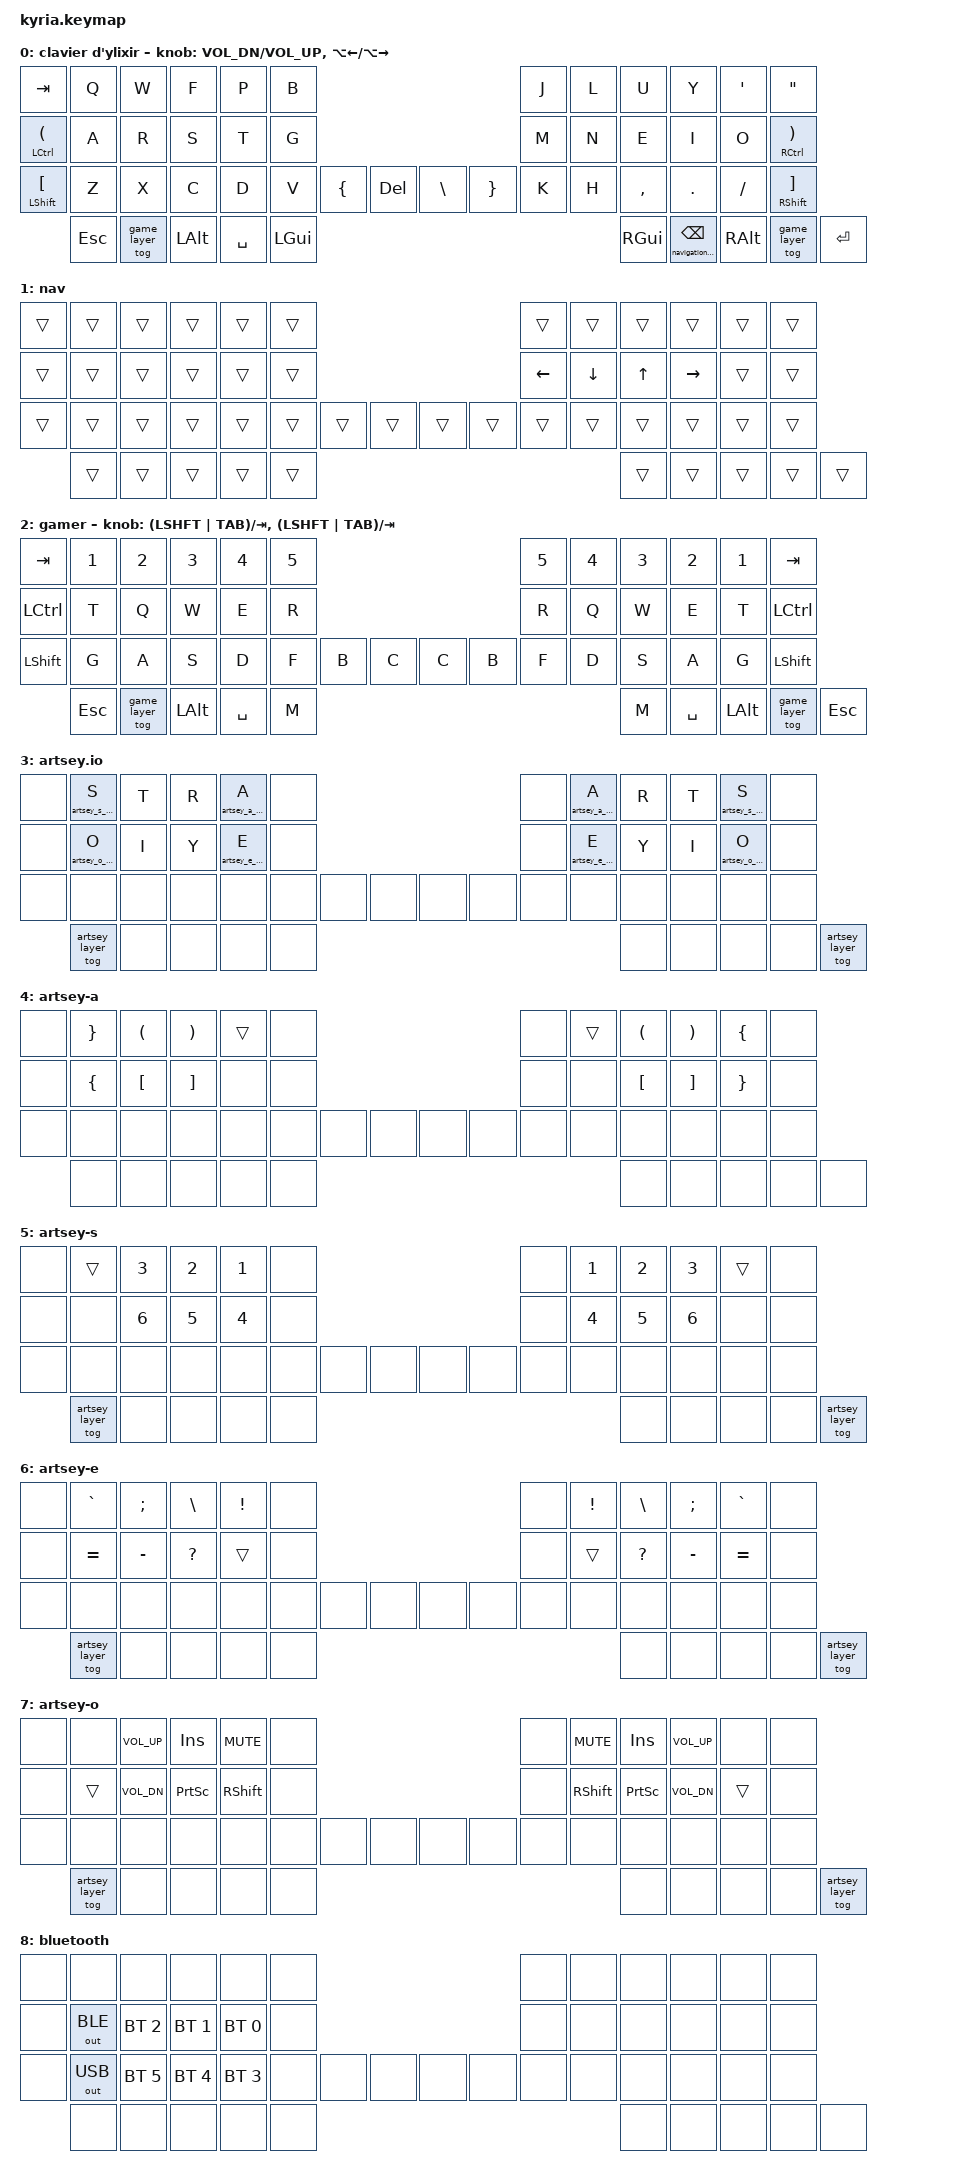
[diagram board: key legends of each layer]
/*
 * Copyright (c) 2020 The ZMK Contributors
 *
 * SPDX-License-Identifier: MIT
 */

#include <behaviors.dtsi>
#include <dt-bindings/zmk/keys.h>
#include <dt-bindings/zmk/bt.h>
#include <dt-bindings/zmk/outputs.h>

#define base_layer 0
#define navigation_layer 1
#define game_layer 2
#define artsey_layer 3
#define artsey_a_layer 4
#define artsey_s_layer 5
#define artsey_e_layer 6
#define artsey_o_layer 7
#define bluetooth_layer 8

#define artsey_timeout 175
&left_encoder { resolution = <2>; };
&right_encoder { resolution = <2>; };

/ {
  behaviors {
    // mainly to allow key repeat with backspace
    rlt: behavior_repeating_layer_tap {
      compatible = "zmk,behavior-hold-tap";
      label = "REPEATING_LAYER_TAP";
      #binding-cells = <2>;
      flavor = "tap-unless-interrupted";
      tapping-term-ms = <500>;
      bindings = <&mo>, <&kp>;
    };
  };
  combos {
    compatible = "zmk,combos";
    combo_tilde { timeout-ms = <50>; key-positions = <0 1>; bindings = <&kp TILDE>; };
    combo_grave { timeout-ms = <50>; key-positions = <10 11>; bindings = <&kp GRAVE>; };

    combo_lt { timeout-ms = <50>; key-positions = <4 5>; layers = <base_layer>; bindings = <&kp LT>; };
    combo_gt { timeout-ms = <50>; key-positions = <6 7>; layers = <base_layer>; bindings = <&kp GT>; };

    combo_n1 { timeout-ms = <50>; key-positions = <1 13>; layers = <base_layer>; bindings = <&kp N1>; };
    combo_n2 { timeout-ms = <50>; key-positions = <2 14>; layers = <base_layer>; bindings = <&kp N2>; };
    combo_n3 { timeout-ms = <50>; key-positions = <3 15>; layers = <base_layer>; bindings = <&kp N3>; };
    combo_n4 { timeout-ms = <50>; key-positions = <4 16>; layers = <base_layer>; bindings = <&kp N4>; };
    combo_n5 { timeout-ms = <50>; key-positions = <5 17>; layers = <base_layer>; bindings = <&kp N5>; };
    combo_n6 { timeout-ms = <50>; key-positions = <6 18>; layers = <base_layer>; bindings = <&kp N6>; };
    combo_n7 { timeout-ms = <50>; key-positions = <7 19>; layers = <base_layer>; bindings = <&kp N7>; };
    combo_n8 { timeout-ms = <50>; key-positions = <8 20>; layers = <base_layer>; bindings = <&kp N8>; };
    combo_n9 { timeout-ms = <50>; key-positions = <9 21>; layers = <base_layer>; bindings = <&kp N9>; };
    combo_n0 { timeout-ms = <50>; key-positions = <10 22>; layers = <base_layer>; bindings = <&kp N0>; };

    combo_minus { timeout-ms = <50>; key-positions = <16 17>; layers = <base_layer>; bindings = <&kp MINUS>; };
    combo_plus { timeout-ms = <50>; key-positions = <18 19>; layers = <base_layer>; bindings = <&kp PLUS>; };

    combo_excl { timeout-ms = <50>; key-positions = <13 25>; layers = <base_layer>; bindings = <&kp EXCL>; };
    combo_at { timeout-ms = <50>; key-positions = <14 26>; layers = <base_layer>; bindings = <&kp AT>; };
    combo_pound { timeout-ms = <50>; key-positions = <15 27>; layers = <base_layer>; bindings = <&kp POUND>; };
    combo_dllr { timeout-ms = <50>; key-positions = <16 28>; layers = <base_layer>; bindings = <&kp DLLR>; };
    combo_prcnt { timeout-ms = <50>; key-positions = <17 29>; layers = <base_layer>; bindings = <&kp PRCNT>; };
    combo_caret { timeout-ms = <50>; key-positions = <18 34>; layers = <base_layer>; bindings = <&kp CARET>; };
    combo_amps { timeout-ms = <50>; key-positions = <19 35>; layers = <base_layer>; bindings = <&kp AMPS>; };
    combo_star { timeout-ms = <50>; key-positions = <20 36>; layers = <base_layer>; bindings = <&kp STAR>; };
    combo_semi { timeout-ms = <50>; key-positions = <21 37>; layers = <base_layer>; bindings = <&kp SEMI>; };
    combo_colon { timeout-ms = <50>; key-positions = <22 38>; layers = <base_layer>; bindings = <&kp COLON>; };

    combo_equal { timeout-ms = <50>; key-positions = <28 29>; layers = <base_layer>; bindings = <&kp EQUAL>; };
    combo_under { timeout-ms = <50>; key-positions = <34 35>; layers = <base_layer>; bindings = <&kp UNDER>; };

    combo_caps_word { timeout-ms = <50>; key-positions = <24 39>; layers = <base_layer>; bindings = <&caps_word>; };

    combo_artsey_left_m  { timeout-ms = <artsey_timeout>; key-positions = <13 14 15>; layers = <artsey_layer>; bindings = <&kp M>; };
    combo_artsey_right_m { timeout-ms = <artsey_timeout>; key-positions = <20 21 22>; layers = <artsey_layer>; bindings = <&kp M>; };
    combo_artsey_left_n  { timeout-ms = <artsey_timeout>; key-positions = <13 14>;    layers = <artsey_layer>; bindings = <&kp N>; };
    combo_artsey_right_n { timeout-ms = <artsey_timeout>; key-positions = <21 22>;    layers = <artsey_layer>; bindings = <&kp N>; };
    combo_artsey_left_p  { timeout-ms = <artsey_timeout>; key-positions = <13 14 16>; layers = <artsey_layer>; bindings = <&kp P>; };
    combo_artsey_right_p { timeout-ms = <artsey_timeout>; key-positions = <19 21 22>; layers = <artsey_layer>; bindings = <&kp P>; };
    combo_artsey_left_q  { timeout-ms = <artsey_timeout>; key-positions = <1 2 4>;    layers = <artsey_layer>; bindings = <&kp Q>; };
    combo_artsey_right_q { timeout-ms = <artsey_timeout>; key-positions = <7 9 10>;   layers = <artsey_layer>; bindings = <&kp Q>; };
    combo_artsey_left_u  { timeout-ms = <artsey_timeout>; key-positions = <14 15>;    layers = <artsey_layer>; bindings = <&kp U>; };
    combo_artsey_right_u { timeout-ms = <artsey_timeout>; key-positions = <20 21>;    layers = <artsey_layer>; bindings = <&kp U>; };
    combo_artsey_left_v  { timeout-ms = <artsey_timeout>; key-positions = <1 3>;      layers = <artsey_layer>; bindings = <&kp V>; };
    combo_artsey_right_v { timeout-ms = <artsey_timeout>; key-positions = <8 10>;     layers = <artsey_layer>; bindings = <&kp V>; };
    combo_artsey_left_w  { timeout-ms = <artsey_timeout>; key-positions = <1 4>;      layers = <artsey_layer>; bindings = <&kp W>; };
    combo_artsey_right_w { timeout-ms = <artsey_timeout>; key-positions = <7 10>;     layers = <artsey_layer>; bindings = <&kp W>; };
    combo_artsey_left_x  { timeout-ms = <artsey_timeout>; key-positions = <1 2 3>;    layers = <artsey_layer>; bindings = <&kp X>; };
    combo_artsey_right_x { timeout-ms = <artsey_timeout>; key-positions = <8 9 10>;   layers = <artsey_layer>; bindings = <&kp X>; };
    combo_artsey_left_z  { timeout-ms = <artsey_timeout>; key-positions = <1 2 3 4>;  layers = <artsey_layer>; bindings = <&kp Z>; };
    combo_artsey_right_z { timeout-ms = <artsey_timeout>; key-positions = <7 8 9 10>; layers = <artsey_layer>; bindings = <&kp Z>; };

    combo_artsey_left_b  { timeout-ms = <artsey_timeout>; key-positions = <13 16>;    layers = <artsey_layer>; bindings = <&kp B>; };
    combo_artsey_right_b { timeout-ms = <artsey_timeout>; key-positions = <19 22>;    layers = <artsey_layer>; bindings = <&kp B>; };
    combo_artsey_left_c  { timeout-ms = <artsey_timeout>; key-positions = <15 16>;    layers = <artsey_layer>; bindings = <&kp C>; };
    combo_artsey_right_c { timeout-ms = <artsey_timeout>; key-positions = <19 20>;    layers = <artsey_layer>; bindings = <&kp C>; };
    combo_artsey_left_d  { timeout-ms = <artsey_timeout>; key-positions = <2 3 4>;    layers = <artsey_layer>; bindings = <&kp D>; };
    combo_artsey_right_d { timeout-ms = <artsey_timeout>; key-positions = <7 8 9>;    layers = <artsey_layer>; bindings = <&kp D>; };
    combo_artsey_left_f  { timeout-ms = <artsey_timeout>; key-positions = <3 4>;      layers = <artsey_layer>; bindings = <&kp F>; };
    combo_artsey_right_f { timeout-ms = <artsey_timeout>; key-positions = <7 8>;      layers = <artsey_layer>; bindings = <&kp F>; };
    combo_artsey_left_g  { timeout-ms = <artsey_timeout>; key-positions = <2 3>;      layers = <artsey_layer>; bindings = <&kp G>; };
    combo_artsey_right_g { timeout-ms = <artsey_timeout>; key-positions = <8 9>;      layers = <artsey_layer>; bindings = <&kp G>; };
    combo_artsey_left_h  { timeout-ms = <artsey_timeout>; key-positions = <14 16>;    layers = <artsey_layer>; bindings = <&kp H>; };
    combo_artsey_right_h { timeout-ms = <artsey_timeout>; key-positions = <19 21>;    layers = <artsey_layer>; bindings = <&kp H>; };
    combo_artsey_left_j  { timeout-ms = <artsey_timeout>; key-positions = <1 2>;      layers = <artsey_layer>; bindings = <&kp J>; };
    combo_artsey_right_j { timeout-ms = <artsey_timeout>; key-positions = <9 10>;     layers = <artsey_layer>; bindings = <&kp J>; };
    combo_artsey_left_k  { timeout-ms = <artsey_timeout>; key-positions = <13 15>;    layers = <artsey_layer>; bindings = <&kp K>; };
    combo_artsey_right_k { timeout-ms = <artsey_timeout>; key-positions = <20 22>;    layers = <artsey_layer>; bindings = <&kp K>; };
    combo_artsey_left_l  { timeout-ms = <artsey_timeout>; key-positions = <14 15 16>; layers = <artsey_layer>; bindings = <&kp L>; };
    combo_artsey_right_l { timeout-ms = <artsey_timeout>; key-positions = <19 20 21>; layers = <artsey_layer>; bindings = <&kp L>; };

    combo_artsey_left_esc    { timeout-ms = <artsey_timeout>; key-positions = <13 3 4>;      layers = <artsey_layer>; bindings = <&kp ESC>; };
    combo_artsey_right_esc   { timeout-ms = <artsey_timeout>; key-positions = <7 8 22>;      layers = <artsey_layer>; bindings = <&kp ESC>; };
    combo_artsey_left_enter  { timeout-ms = <artsey_timeout>; key-positions = <4 16>;        layers = <artsey_layer>; bindings = <&kp RET>; };
    combo_artsey_right_enter { timeout-ms = <artsey_timeout>; key-positions = <7 19>;        layers = <artsey_layer>; bindings = <&kp RET>; };
    combo_artsey_left_tab    { timeout-ms = <artsey_timeout>; key-positions = <13 2 3 4>;    layers = <artsey_layer>; bindings = <&kp TAB>; };
    combo_artsey_right_tab   { timeout-ms = <artsey_timeout>; key-positions = <7 8 9 22>;    layers = <artsey_layer>; bindings = <&kp TAB>; };
    combo_artsey_left_quote  { timeout-ms = <artsey_timeout>; key-positions = <4 14 15>;     layers = <artsey_layer>; bindings = <&kp SQT>; };
    combo_artsey_right_quote { timeout-ms = <artsey_timeout>; key-positions = <7 20 21>;     layers = <artsey_layer>; bindings = <&kp SQT>; };
    combo_artsey_left_dot    { timeout-ms = <artsey_timeout>; key-positions = <4 14>;        layers = <artsey_layer>; bindings = <&kp DOT>; };
    combo_artsey_right_dot   { timeout-ms = <artsey_timeout>; key-positions = <7 20>;        layers = <artsey_layer>; bindings = <&kp DOT>; };
    combo_artsey_left_comma  { timeout-ms = <artsey_timeout>; key-positions = <4 14>;        layers = <artsey_layer>; bindings = <&kp COMMA>; };
    combo_artsey_right_comma { timeout-ms = <artsey_timeout>; key-positions = <7 21>;        layers = <artsey_layer>; bindings = <&kp COMMA>; };
    combo_artsey_left_slash  { timeout-ms = <artsey_timeout>; key-positions = <4 13>;        layers = <artsey_layer>; bindings = <&kp FSLH>; };
    combo_artsey_right_slash { timeout-ms = <artsey_timeout>; key-positions = <7 22>;        layers = <artsey_layer>; bindings = <&kp FSLH>; };
    combo_artsey_left_excl   { timeout-ms = <artsey_timeout>; key-positions = <2 14>;        layers = <artsey_layer>; bindings = <&kp EXCL>; };
    combo_artsey_right_excl  { timeout-ms = <artsey_timeout>; key-positions = <9 21>;        layers = <artsey_layer>; bindings = <&kp EXCL>; };
    combo_artsey_left_space  { timeout-ms = <artsey_timeout>; key-positions = <13 14 15 16>; layers = <artsey_layer>; bindings = <&kp SPACE>; };
    combo_artsey_right_space { timeout-ms = <artsey_timeout>; key-positions = <19 20 21 22>; layers = <artsey_layer>; bindings = <&kp SPACE>; };
    combo_artsey_left_bkspc  { timeout-ms = <artsey_timeout>; key-positions = <3 16>;        layers = <artsey_layer>; bindings = <&kp BSPC>; };
    combo_artsey_right_bkspc { timeout-ms = <artsey_timeout>; key-positions = <8 19>;        layers = <artsey_layer>; bindings = <&kp BSPC>; };
    combo_artsey_left_del    { timeout-ms = <artsey_timeout>; key-positions = <3 14>;        layers = <artsey_layer>; bindings = <&kp DEL>; };
    combo_artsey_right_del   { timeout-ms = <artsey_timeout>; key-positions = <8 21>;        layers = <artsey_layer>; bindings = <&kp DEL>; };

    combo_artsey_left_ctrl      { timeout-ms = <artsey_timeout>; key-positions = <1 22>;       layers = <artsey_layer>; bindings = <&sk LCTRL>; };
    combo_artsey_right_ctrl     { timeout-ms = <artsey_timeout>; key-positions = <10 19>;      layers = <artsey_layer>; bindings = <&sk LCTRL>; };
    combo_artsey_left_gui       { timeout-ms = <artsey_timeout>; key-positions = <1 21>;       layers = <artsey_layer>; bindings = <&sk LGUI>; };
    combo_artsey_right_gui      { timeout-ms = <artsey_timeout>; key-positions = <10 20>;      layers = <artsey_layer>; bindings = <&sk LGUI>; };
    combo_artsey_left_meta      { timeout-ms = <artsey_timeout>; key-positions = <1 20>;       layers = <artsey_layer>; bindings = <&sk LALT>; };
    combo_artsey_right_meta     { timeout-ms = <artsey_timeout>; key-positions = <10 21>;      layers = <artsey_layer>; bindings = <&sk LALT>; };
    combo_artsey_left_shift     { timeout-ms = <artsey_timeout>; key-positions = <1 2 3 22>;   layers = <artsey_layer>; bindings = <&sk LSHFT>; };
    combo_artsey_right_shift    { timeout-ms = <artsey_timeout>; key-positions = <8 9 10 19>;  layers = <artsey_layer>; bindings = <&sk LSHFT>; };
    combo_artsey_left_caps_wrd  { timeout-ms = <artsey_timeout>; key-positions = <3 21>;       layers = <artsey_layer>; bindings = <&caps_word>; };
    combo_artsey_right_caps_wrd { timeout-ms = <artsey_timeout>; key-positions = <8 20>;       layers = <artsey_layer>; bindings = <&caps_word>; };
    combo_artsey_left_caps      { timeout-ms = <artsey_timeout>; key-positions = <4 19 20 21>; layers = <artsey_layer>; bindings = <&kp CAPS>; };
    combo_artsey_right_caps     { timeout-ms = <artsey_timeout>; key-positions = <7 20 21 22>; layers = <artsey_layer>; bindings = <&kp CAPS>; };
    combo_artsey_left_bt_clr    { timeout-ms = <artsey_timeout>; key-positions = <2 3 20 21>;  layers = <artsey_layer>; bindings = <&bt BT_CLR>; };
    combo_artsey_right_bt_clr   { timeout-ms = <artsey_timeout>; key-positions = <8 9 20 21>;  layers = <artsey_layer>; bindings = <&bt BT_CLR>; };

    combo_artsey_left_0  { timeout-ms = <artsey_timeout>; key-positions = <14 15>; layers = <artsey_layer>; bindings = <&kp N0>; };
    combo_artsey_right_0 { timeout-ms = <artsey_timeout>; key-positions = <21 22>; layers = <artsey_layer>; bindings = <&kp N0>; };
    combo_artsey_left_9  { timeout-ms = <artsey_timeout>; key-positions = <15 16>; layers = <artsey_layer>; bindings = <&kp N9>; };
    combo_artsey_right_9 { timeout-ms = <artsey_timeout>; key-positions = <20 21>; layers = <artsey_layer>; bindings = <&kp N9>; };
    combo_artsey_left_8  { timeout-ms = <artsey_timeout>; key-positions = <2 3>;   layers = <artsey_layer>; bindings = <&kp N8>; };
    combo_artsey_right_8 { timeout-ms = <artsey_timeout>; key-positions = <9 10>;  layers = <artsey_layer>; bindings = <&kp N8>; };
    combo_artsey_left_7  { timeout-ms = <artsey_timeout>; key-positions = <3 4>;   layers = <artsey_layer>; bindings = <&kp N7>; };
    combo_artsey_right_7 { timeout-ms = <artsey_timeout>; key-positions = <8 9>;   layers = <artsey_layer>; bindings = <&kp N7>; };

    combo_left_bluetooth { timeout-ms = <50>; key-positions = <1 4 13 16>; layers = <base_layer artsey_layer bluetooth_layer>; bindings = <&tog bluetooth_layer>; };
    combo_right_bluetooth { timeout-ms = <50>; key-positions = <7 10 19 22>; layers = <base_layer artsey_layer bluetooth_layer>; bindings = <&tog bluetooth_layer>; };
    combo_left_artsey  { timeout-ms = <50>; key-positions = <13 14 15 16>; layers = <base_layer game_layer>; bindings = <&tog artsey_layer>; };
    combo_right_artsey { timeout-ms = <50>; key-positions = <19 20 21 22>; layers = <base_layer game_layer>; bindings = <&tog artsey_layer>; };
  };
  keymap {
    compatible = "zmk,keymap";

// key numbers
// ,-------------------------------------------.                              ,-------------------------------------------.
// |   0   (~) 1   |  2   |  3   |  4  (<) 5   |                              |  6  (>) 7   |  8   |  9   |  10 (`)  11   |
// |--------+---1--+---2--+---3--+---4--+---5--|                              |---6--+---7--+---8--+---9--+---0--+--------|
// |   12   |  13  |  14  |  15  |  16 (-) 17  |                              |  18 (+) 19  |  20  |  21  |  22  |   23   |
// |--------+---!--+---@--+---#--+---$--+---%--+-------------.  ,-------------+---^--+---&--+---*--+---;--+---:--+--------|
// |   24   |  25  |  26  |  27  |  28 (=) 29  |  30  |  31  |  |  32  |  33  |  34 (_) 35  |  36  |  37  |  38  |   39   |
// `----------------------+------+------+------+------+------|  |------+------+------+------+------+----------------------'
//                        |  40  |  41  |  42  |  43  |  44  |  |  45  |  46  |  47  |  48  |  49  |
//                        `----------|-----------------------'  `-----------------------|----------'
//                                   +----------------- bluetooth layer ----------------+
// base
// ,-------------------------------------------.                              ,-------------------------------------------.
// |  tab  (~)  Q  |   W  |   F  |   P (<)  B  |                              |   J (>)  L  |   U  |   Y  |   ' (`)  "    |
// |--------+---1--+---2--+---3--+---4--+---5--|                              |---6--+---7--+---8--+---9--+---0--+--------|
// | Ctrl ( |   A  |   R  |   S  |   T (=)  G  |                              |   M (_)  N  |   E  |   I  |   O  | Ctrl ) |
// |--------+---!--+---@--+---#--+---$--+---%--+-------------.  ,-------------+---^--+---&--+---*--+---;--+---:--+--------|
// | Shft [ |   Z  |   X  |   C  |   D (-)  V  |   {  | Del  |  |   \  |  }   |   K (+)  H  |   ,  |   .  |   /  | Shft ] |
// `----------------------+------+------+------+------+------|  |------+------+------+------+------+----------------------'
//                        | ESC  |      | Alt  |Space |  Gui |  | Gui  | Bspc | Alt  |      |  Ent |
//                        |      |   ^  |      |      |      |  |      |  Nav |      |  ^   |      |
//                        `----------|-----------------------'  `-----------------------|----------'
//                        - vol +    +----------------- bluetooth layer ----------------+   <-alt->

// navigation
// ,-------------------------------------------.                              ,-------------------------------------------.
// |        |      |      |      |      |      |                              |      |      |      |      |      |        |
// |--------+------+------+------+------+------|                              |------+------+------+------+------+--------|
// |        |      |      |      |      |      |                              | Left | Down | Up   | Right|      |        |
// |--------+------+------+------+------+------+-------------.  ,-------------+------+------+------+------+------+--------|
// |        |      |      |      |      |      |      |      |  |      |      |      |      |      |      |      |        |
// `----------------------+------+------+------+------+------|  |------+------+------+------+------+----------------------'
//                        |      |      |      |      |      |  |      |      |      |      |      |
//                        |      |      |      |      |      |  |      |      |      |      |      |
//                        `----------------------------------'  `----------------------------------'
//
    base_layer {
      label = "clavier d'ylixir";
      bindings = <
  &kp TAB   &kp Q &kp W &kp F &kp P &kp B                                                   &kp J &kp L  &kp U     &kp Y   &kp SQT  &kp DQT
  &mt LCTRL LPAR &kp A &kp R &kp S &kp T &kp G                                              &kp M &kp N  &kp E     &kp I   &kp O    &mt RCTRL RPAR
  &mt LSHFT LBKT &kp Z &kp X &kp C &kp D &kp V   &kp LBRC  &kp DEL        &kp BSLH &kp RBRC &kp K &kp H  &kp COMMA &kp DOT &kp FSLH &mt RSHFT RBKT
              &kp ESC  &tog game_layer  &kp LALT &kp SPACE &kp LGUI       &kp RGUI &rlt navigation_layer BSPC   &kp RALT &tog game_layer &kp RET

      >;

      sensor-bindings = <&inc_dec_kp C_VOL_DN C_VOL_UP &inc_dec_kp LA(LEFT) LA(RIGHT)>;
    };
    nagigation_layer {
      label = "nav";
      bindings = <
  &trans   &trans &trans &trans &trans &trans                                            &trans   &trans   &trans &trans    &trans  &trans
  &trans   &trans &trans &trans &trans &trans                                            &kp LEFT &kp DOWN &kp UP &kp RIGHT &trans  &trans
  &trans   &trans &trans &trans &trans &trans   &trans  &trans       &trans   &trans     &trans   &trans   &trans &trans    &trans  &trans
                          &trans  &trans  &trans &trans &trans       &trans   &trans     &trans &trans &trans

      >;
    };
// game
// ,-------------------------------------------.                              ,-------------------------------------------.
// |  Tab   |  1   |  2   |  3   |  4   |  5   |                              |  5   |  4   |  3   |  2   |  1   |  Tab   |
// |--------+------+------+------+------+------|                              |------+------+------+------+------+--------|
// |  Ctrl  |  T   |  Q   |  W   |  E   |  R   |                              |  R   |  Q   |  W   |  E   |  T   |  Ctrl  |
// |--------+------+------+------+------+------+-------------.  ,-------------+------+------+------+------+------+--------|
// |  Shft  |  G   |  A   |  S   |  D   |  F   |  B   |  C   |  |  C   |  B   |  F   |  D   |  S   |  A   |  G   |  Shft  |
// `----------------------+------+------+------+------+------|  |------+------+------+------+------+----------------------'
//                        | Esc  | Tog  | Alt  | Spc  |  M   |  |  M   | Spc  | Alt  | Tog  | Esc  |
//                        |      | Base |      |      |      |  |      |      |      | Base |      |
//                        `----------------------------------'  `----------------------------------'
//                          Tab                                                               Tab
    game_layer {
      label = "gamer";
      bindings = <
  &kp TAB   &kp N1 &kp N2 &kp N3 &kp N4 &kp N5                                   &kp N5 &kp N4 &kp N3 &kp N2 &kp N1 &kp TAB
  &kp LCTRL &kp T  &kp Q  &kp W  &kp E  &kp R                                    &kp R  &kp Q  &kp W  &kp E  &kp T  &kp LCTRL
  &kp LSHFT &kp G  &kp A  &kp S  &kp D  &kp F   &kp B  &kp C        &kp C &kp B  &kp F  &kp D  &kp S  &kp A  &kp G  &kp LSHFT
     &kp ESC  &tog game_layer &kp LALT &kp SPACE &kp M        &kp M &kp SPACE &kp LALT &tog game_layer &kp ESC
      >;
      sensor-bindings = <&inc_dec_kp (LSHFT | TAB) TAB &inc_dec_kp (LSHFT | TAB) TAB>;
    };
    artsey_layer {
      label = "artsey.io";
      bindings = <
  &none &lt artsey_s_layer S &kp T &kp R &lt artsey_a_layer A &none                               &none &lt artsey_a_layer A &kp R &kp T &lt artsey_s_layer S &none
  &none &lt artsey_o_layer O &kp I &kp Y &lt artsey_e_layer E &none                               &none &lt artsey_e_layer E &kp Y &kp I &lt artsey_o_layer O &none
  &none &none &none &none &none &none &none &none       &none &none &none &none &none &none &none &none
        &tog artsey_layer &none &none &none &none       &none &none &none &none &tog artsey_layer
      >;
    };
    artsey_a_layer {
      label = "artsey-a";
      bindings = <
  &none &kp RBRC &kp LPAR &kp RPAR &trans &none             &none &trans &kp LPAR &kp RPAR &kp LBRC &none
  &none &kp LBRC &kp LBKT &kp RBKT &none  &none             &none &none  &kp LBKT &kp RBKT &kp RBRC &none
  &none &none &none &none &none &none &none &none       &none &none &none &none &none &none &none &none
                    &none &none &none &none &none       &none &none &none &none &none
      >;
    };
    artsey_s_layer {
      label = "artsey-s";
      bindings = <
  &none &trans &kp N3 &kp N2 &kp N1 &none                               &none &kp N1 &kp N2 &kp N3 &trans &none
  &none &none  &kp N6 &kp N5 &kp N4 &none                               &none &kp N4 &kp N5 &kp N6 &none  &none
  &none &none &none &none &none &none &none &none       &none &none &none &none &none &none &none &none
        &tog artsey_layer &none &none &none &none       &none &none &none &none &tog artsey_layer
      >;
    };
    artsey_e_layer {
      label = "artsey-e";
      bindings = <
  &none &kp GRAVE &kp SEMI &kp BSLH &kp EXCL &none                               &none &kp EXCL &kp BSLH &kp SEMI &kp GRAVE &none
  &none &kp EQUAL &kp MINUS &kp QMARK &trans &none                               &none &trans &kp QMARK &kp MINUS &kp EQUAL &none
  &none &none &none &none &none &none &none &none       &none &none &none &none &none &none &none &none
        &tog artsey_layer &none &none &none &none       &none &none &none &none &tog artsey_layer
      >;
    };
    artsey_o_layer {
      label = "artsey-o";
      bindings = <
  &none &none  &kp C_VOL_UP &kp INS   &kp C_MUTE &none                               &none &kp C_MUTE &kp INS   &kp C_VOL_UP &none  &none
  &none &trans &kp C_VOL_DN &kp PSCRN &kp RSHFT  &none                               &none &kp RSHFT  &kp PSCRN &kp C_VOL_DN &trans &none
  &none &none  &none        &none     &none      &none &none &none       &none &none &none &none &none &none &none &none
                         &tog artsey_layer &none &none &none &none       &none &none &none &none &tog artsey_layer
      >;
    };
// bluetooth
// ,-------------------------------------------.                              ,-------------------------------------------.
// |        |      |      |      |      |      |                              |      |      |      |      |      |        |
// |--------+------+------+------+------+------|                              |------+------+------+------+------+--------|
// |        |BTprf |  2   |  1   |  0   |      |                              |      |      |      |      |      |        |
// |--------+------+------+------+------+------+-------------.  ,-------------+------+------+------+------+------+--------|
// |        |USBprf|  5   |  4   |  3   |      |      |      |  |      |      |      |      |      |      |      |        |
// `----------------------+------+------+------+------+------|  |------+------+------+------+------+----------------------'
//                        |      |      |      |      |      |  |      |      |      |      |      |
//                        |      |      |      |      |      |  |      |      |      |      |      |
//                        `----------------------------------'  `----------------------------------'
    bluetooth_layer {
      label = "bluetooth";
      bindings = <
  &none   &none        &none        &none        &none        &none                                    &none &none &none &none &none &none
  &none   &out OUT_BLE &bt BT_SEL 2 &bt BT_SEL 1 &bt BT_SEL 0 &none                                    &none &none &none &none &none &none
  &none   &out OUT_USB &bt BT_SEL 5 &bt BT_SEL 4 &bt BT_SEL 3 &none   &none  &none       &none   &none &none &none &none &none &none &none
                                                   &none  &none  &none &none &none       &none   &none &none &none &none

      >;
    };
  };
};

// original keymap (for reference)
//  &kp ESC   &kp Q &kp W &kp E &kp R &kp T                                                &kp Y &kp U  &kp I     &kp O   &kp P    &kp BSLH
//  &kp TAB   &kp A &kp S &kp D &kp F &kp G                                                &kp H &kp J  &kp K     &kp L   &kp SEMI &kp SQT
//  &kp LSHFT &kp Z &kp X &kp C &kp V &kp B &kp LSHFT &kp LSHFT        &kp LSHFT &kp LSHFT &kp N &kp M  &kp COMMA &kp DOT &kp FSLH &kp RCTRL
//                  &kp LGUI &kp DEL &kp RET &kp SPACE &kp ESC        &kp RET  &kp SPACE  &kp TAB &kp BSPC &kp RALT

